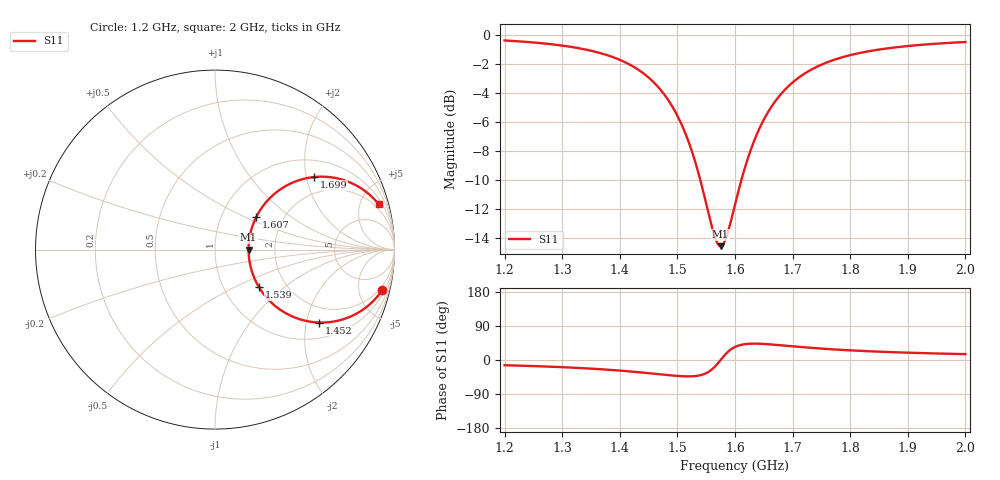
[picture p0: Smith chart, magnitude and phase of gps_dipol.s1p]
! Created with skrf 2.1.0 (http://scikit-rf.org).
# Hz S RI R 50.0
!freq ReS11 ImS11
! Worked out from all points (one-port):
!   801 points, 1.2 GHz to 2 GHz, reference 50 ohm
!   lowest |S11| = -14.6 dB at 1.575 GHz (marker M1), VSWR 1.46, Z = 73 + j0 ohm
!   |S11| at or under -10 dB: 1.54 GHz to 1.611 GHz (71.34 MHz wide, 4.53 % of centre)
!   S11 on the Smith chart (normalised r, x): 1.2 GHz: 1.46, -8.04; 1.452 GHz: 1.46, -2.38; 1.539 GHz: 1.46, -0.68; 1.607 GHz: 1.46, +0.59; 1.699 GHz: 1.46, +2.22; 2 GHz: 1.46, +7.04
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1.2e9  0.9304 -0.2275
1.253e9  0.9043 -0.2619
1.3e9  0.87 -0.298
1.354e9  0.8085 -0.345
1.4e9  0.7257 -0.3844
1.426e9  0.6607 -0.4009
1.452e9  0.5795 -0.4063
1.478e9  0.4822 -0.391
1.5e9  0.3913 -0.3527
1.52e9  0.3099 -0.2912
1.539e9  0.244 -0.2075
1.563e9  0.1936 -0.0732
1.569e9  0.1887 -0.0368
1.575e9  0.187 0
1.58e9  0.1881 0.0305
1.585e9  0.1916 0.0607
1.6e9  0.2144 0.1469
1.607e9  0.2308 0.1836
1.626e9  0.2888 0.2691
1.647e9  0.3657 0.3367
1.671e9  0.4557 0.3825
1.699e9  0.551 0.4043
1.7e9  0.5541 0.4046
1.747e9  0.6772 0.3978
1.8e9  0.7695 0.3664
1.846e9  0.8225 0.3358
1.9e9  0.8649 0.3026
2e9  0.9116 0.2531
